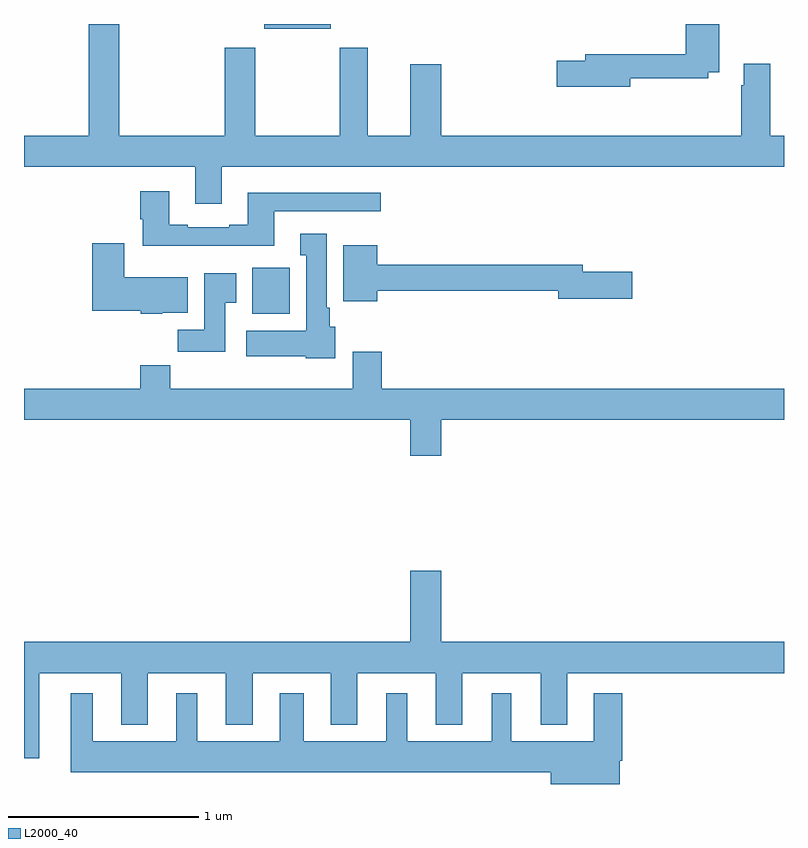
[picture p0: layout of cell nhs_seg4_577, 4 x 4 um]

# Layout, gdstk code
import gdstk
lib = gdstk.Library(unit=1e-6, precision=1e-09)
def R(c, l, rs):  # rectangles x0, y0, x1, y1
    for r in rs: c.add(gdstk.rectangle(r[:2], r[2:], *l))
def P(c, l, *ps):  # polygons
    for p in ps: c.add(gdstk.Polygon(p, *l))
L2000_40 = (2000, 40)

nhs_seg4_577 = lib.new_cell('nhs_seg4_577')
R(nhs_seg4_577, L2000_40, [(140.201,801.374,140.398,801.616), (140.264,802.874,140.614,802.9)])
P(nhs_seg4_577, L2000_40, [(142.192,802.614),(142.602,802.614),(142.602,802.646),(142.659,802.646),(142.659,802.9),(142.484,802.9),(142.484,802.742),(141.953,802.742),(141.953,802.706),(141.804,802.706),(141.804,802.571),(142.192,802.571)],
  [(143,802.312),(142.927,802.312),(142.927,802.69),(142.787,802.69),(142.787,802.577),(142.775,802.577),(142.775,802.312),(141.196,802.312),(141.196,802.687),(141.032,802.687),(141.032,802.312),(140.809,802.312),(140.809,802.774),(140.662,802.774),(140.662,802.312),(140.217,802.312),(140.217,802.774),(140.057,802.774),(140.057,802.312),(139.502,802.312),(139.502,802.9),(139.342,802.9),(139.342,802.312),(139,802.312),(139,802.148),(139.901,802.148),(139.901,801.954),(140.041,801.954),(140.041,802.148),(143,802.148)],
  [(140.317,801.915),(140.878,801.915),(140.878,802.012),(140.177,802.012),(140.177,801.844),(140.081,801.844),(140.081,801.831),(139.861,801.831),(139.861,801.844),(139.765,801.844),(139.765,802.021),(139.613,802.021),(139.613,801.873),(139.625,801.873),(139.625,801.734),(140.317,801.734)],
  [(140.638,801.306),(140.608,801.306),(140.608,801.406),(140.593,801.406),(140.593,801.796),(140.453,801.796),(140.453,801.683),(140.486,801.683),(140.486,801.286),(140.169,801.286),(140.169,801.152),(140.484,801.152),(140.484,801.14),(140.638,801.14)],
  [(139.728,801.38),(139.861,801.38),(139.861,801.568),(139.528,801.568),(139.528,801.745),(139.358,801.745),(139.358,801.392),(139.614,801.392),(139.614,801.374),(139.728,801.374)],
  [(140.86,801.496),(141.812,801.496),(141.812,801.454),(142.201,801.454),(142.201,801.596),(141.94,801.596),(141.94,801.632),(140.86,801.632),(140.86,801.736),(140.681,801.736),(140.681,801.44),(140.86,801.44)],
  [(140.059,801.433),(140.116,801.433),(140.116,801.589),(139.949,801.589),(139.949,801.292),(139.81,801.292),(139.81,801.174),(140.059,801.174)],
  [(141.196,800.816),(143,800.816),(143,800.98),(140.882,800.98),(140.882,801.175),(140.729,801.175),(140.729,800.98),(139.769,800.98),(139.769,801.104),(139.613,801.104),(139.613,800.98),(139,800.98),(139,800.816),(141.032,800.816),(141.032,800.628),(141.196,800.628)],
  [(139.081,799.484),(139.511,799.484),(139.511,799.211),(139.651,799.211),(139.651,799.484),(140.063,799.484),(140.063,799.211),(140.203,799.211),(140.203,799.484),(140.615,799.484),(140.615,799.211),(140.755,799.211),(140.755,799.484),(141.167,799.484),(141.167,799.211),(141.307,799.211),(141.307,799.484),(141.719,799.484),(141.719,799.211),(141.859,799.211),(141.859,799.484),(143,799.484),(143,799.648),(141.196,799.648),(141.196,800.023),(141.032,800.023),(141.032,799.648),(139,799.648),(139,799.035),(139.081,799.035)],
  [(142.135,799.022),(142.148,799.022),(142.148,799.378),(141.998,799.378),(141.998,799.126),(141.565,799.126),(141.565,799.378),(141.461,799.378),(141.461,799.126),(141.016,799.126),(141.016,799.378),(140.906,799.378),(140.906,799.126),(140.473,799.126),(140.473,799.378),(140.345,799.378),(140.345,799.126),(139.912,799.126),(139.912,799.378),(139.802,799.378),(139.802,799.126),(139.363,799.126),(139.363,799.378),(139.247,799.378),(139.247,798.962),(141.773,798.962),(141.773,798.9),(142.135,798.9)])

lib.write_gds('nhs_seg4_577.gds')
